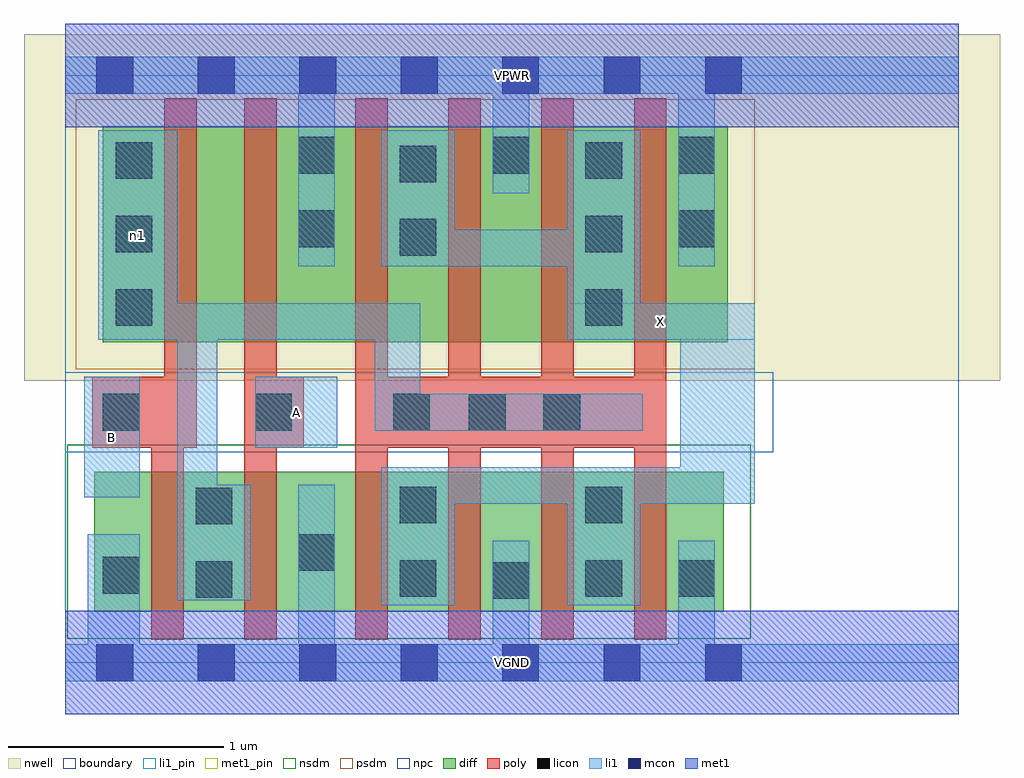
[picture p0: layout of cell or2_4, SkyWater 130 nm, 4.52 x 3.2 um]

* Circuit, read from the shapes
.subckt or2_4 A B VGND VPWR X n1
XM1 n1 B VGND VSUBS sky130_fd_pr__nfet_01v8 w=0.65 l=0.15
XM2 VGND A n1 VSUBS sky130_fd_pr__nfet_01v8 w=0.65 l=0.15
XM3 X n1 VGND VSUBS sky130_fd_pr__nfet_01v8 w=0.65 l=0.15 m=4
XM4 n2 B n1 n3 sky130_fd_pr__pfet_01v8 w=1 l=0.15
XM5 VPWR A n2 n3 sky130_fd_pr__pfet_01v8 w=1 l=0.15
XM6 X n1 VPWR n3 sky130_fd_pr__pfet_01v8 w=1 l=0.15 m=4
.ends

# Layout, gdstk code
import gdstk
lib = gdstk.Library(unit=1e-6, precision=1e-09)
def R(c, l, rs):  # rectangles x0, y0, x1, y1
    for r in rs: c.add(gdstk.rectangle(r[:2], r[2:], *l))
def A(c, l, x, y, w, h, nx, ny, dx, dy):  # array of equal rectangles
    R(c, l, [(x+i*dx, y+j*dy, x+i*dx+w, y+j*dy+h) for i in range(nx) for j in range(ny)])
nwell = (64, 20)
diff = (65, 20)
poly = (66, 20)
licon = (66, 44)
li1_pin = (67, 16)
li1 = (67, 20)
mcon = (67, 44)
met1_pin = (68, 16)
met1 = (68, 20)
nsdm = (93, 44)
psdm = (94, 20)
npc = (95, 20)
boundary = (235, 4)

or2_4 = lib.new_cell('or2_4')
R(or2_4, nwell, [(-0.19,1.305,4.33,2.91), (0,1.305,4.14,2.91)])
R(or2_4, diff, [(0.135,0.235,3.05,0.885), (0.175,1.485,3.07,2.485)])
A(or2_4, poly, 1.345, 0.105, 0.15, 2.51, 4, 1, 0.43, 0)
R(or2_4, poly, [(0.4,0.105,0.55,1.325), (0.83,0.105,0.98,2.615), (0.125,0.995,0.61,1.325), (0.46,0.995,0.61,2.615), (0.83,0.995,1.105,1.325), (1.345,0.995,2.785,1.325)])
A(or2_4, licon, 0.235, 1.56, 0.17, 0.17, 1, 3, 0, 0.34)
A(or2_4, licon, 2.41, 1.56, 0.17, 0.17, 1, 3, 0, 0.34)
R(or2_4, licon, [(1.98,0.295,2.15,0.465), (0.605,0.3,0.775,0.47), (1.55,0.305,1.72,0.475), (2.41,0.305,2.58,0.475), (2.84,0.305,3.01,0.475), (0.175,0.32,0.345,0.49), (1.08,0.425,1.25,0.595), (0.605,0.64,0.775,0.81), (1.55,0.645,1.72,0.815), (2.41,0.645,2.58,0.815), (0.175,1.075,0.345,1.245), (0.88,1.075,1.05,1.245), (1.52,1.075,1.69,1.245), (1.87,1.075,2.04,1.245), (2.215,1.075,2.385,1.245), (1.55,1.885,1.72,2.055), (1.08,1.925,1.25,2.095), (2.84,1.925,3.01,2.095), (1.55,2.225,1.72,2.395), (1.08,2.265,1.25,2.435), (1.98,2.265,2.15,2.435), (2.84,2.265,3.01,2.435)])
R(or2_4, li1_pin, [(0.09,0.765,0.345,1.325), (0.88,0.995,1.26,1.325), (2.325,1.495,3.195,1.665)])
R(or2_4, li1, [(0,-0.085,4.14,0.085), (0.105,-0.085,0.345,0.595), (1.08,-0.085,1.25,0.825), (1.98,-0.085,2.15,0.565), (2.84,-0.085,3.01,0.565), (1.465,0.265,1.805,0.905), (2.325,0.265,2.665,0.905), (0.52,0.29,0.705,1.665), (0.52,0.29,0.86,0.825), (1.465,0.735,3.195,0.905), (2.85,0.735,3.195,1.665), (0.09,0.765,0.345,1.325), (0.88,0.995,1.26,1.325), (1.435,1.075,2.675,1.245), (1.435,1.075,1.645,1.665), (0.155,1.495,0.52,2.465), (0.155,1.495,1.645,1.665), (2.325,1.495,2.665,2.465), (2.325,1.495,3.195,1.665), (1.08,1.835,1.25,2.805), (1.465,1.835,1.805,2.465), (1.465,1.835,2.665,2.005), (2.84,1.835,3.01,2.805), (1.98,2.175,2.15,2.805), (0,2.635,4.14,2.805)])
A(or2_4, mcon, 0.145, -0.085, 0.17, 0.17, 7, 2, 0.47, 2.72)
R(or2_4, met1_pin, [(0,-0.24,4.14,0.24), (0,2.48,4.14,2.96)])
R(or2_4, met1, [(0,-0.24,4.14,0.24), (0,2.48,4.14,2.96)])
R(or2_4, nsdm, [(0.01,0.11,3.175,1.01)])
R(or2_4, psdm, [(0.05,1.36,3.195,2.61)])
R(or2_4, npc, [(0,0.975,3.28,1.345)])
R(or2_4, boundary, [(0,0,4.14,2.72)])
or2_4.add(gdstk.Label('A', (1.07,1.16), layer=67, texttype=5))
or2_4.add(gdstk.Label('B', (0.217,1.045), layer=67, texttype=5))
or2_4.add(gdstk.Label('X', (2.76,1.58), layer=67, texttype=5))
or2_4.add(gdstk.Label('n1', (0.337,1.98), layer=67, texttype=5))
or2_4.add(gdstk.Label('VPWR', (2.07,2.72), layer=68, texttype=5))
or2_4.add(gdstk.Label('VGND', (2.07,0), layer=68, texttype=5))
or2_4.add(gdstk.Label('A', (1.07,1.16), layer=67, texttype=16))
or2_4.add(gdstk.Label('B', (0.217,1.045), layer=67, texttype=16))
or2_4.add(gdstk.Label('X', (2.76,1.58), layer=67, texttype=16))
or2_4.add(gdstk.Label('VPWR', (2.07,2.72), layer=68, texttype=16))
or2_4.add(gdstk.Label('VGND', (2.07,0), layer=68, texttype=16))

lib.write_gds('or2_4.gds')
